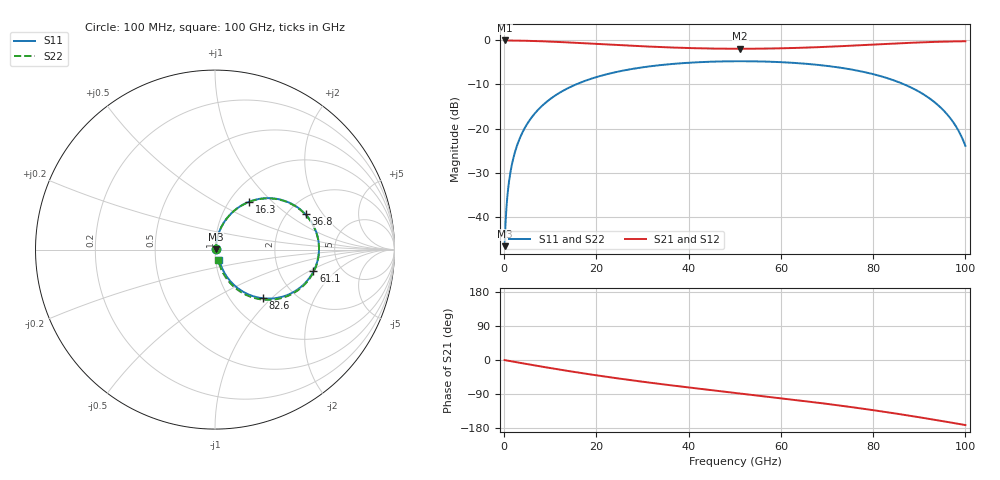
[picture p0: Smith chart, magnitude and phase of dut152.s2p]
! Touchstone file exported from HFSS 2026.1.0
!  File:  C:/ffzhzh/LocalFiles/Ansys_Project_Files/temp_train_RDL_152_1783499927_55944.aedt
!  Generated:  04:40:12 PM Jul  8, 2026
!  Design:  RDL
!  Project:  temp_train_RDL_152_1783499927_55944
! Variables:
!  h_bsmrdl = 2um
!  h_ox = 20um
!  h_rdl = 5um
!  h_sub = 80um
!  h_tmrdl = 3.28um
!  h_tsv = 80um
!  h_via = 3um
!  l_bsmrdl = 300um
!  l_sub = 983.96um
!  l_tmrdl = 583.96um
!  m_sub = 200um
!  pitch = 40.23um
!  r_tsv = 6um
!  s_tmrdl = 10um
!  w_bsmrdl = 18um
!  w_sub = 500um
!  w_tmrdl = 16.58um
!  x_tsv_center1 = 592.25um
!  x_tsv_center2 = 910.25um
!  x_tsv_center3 = 1510.79um
!  x_tsv_center4 = 1828.79um
!  x_tsv_center5 = 2429.33um
!  x_tsv_center6 = 2747.33um
# GHz S MA R 50.000000
! Terminal data exported
! Port[1] = TM_RDL1_1_T1
! Port[2] = TM_RDL1_1_T2
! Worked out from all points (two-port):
!   1000 points, 100 MHz to 100 GHz, reference 50 ohm
!   highest |S21| = -0.03 dB at 100 MHz (marker M1); lowest = -1.9 dB at 51.2 GHz (marker M2)
!   |S21| within 3 dB of the highest: start of sweep to end of sweep
!   lowest |S11| = -46.6 dB at 100 MHz (marker M3), VSWR 1.01, Z = 50.4 + j0.251 ohm
!   |S11| at or under -10 dB: start of sweep to 15.57 GHz; 86.77 GHz to end of sweep
!   |S22| runs from -46.6 to -4.7 dB; largest |S21 - S12| = 1.7e-14
!   S11 on the Smith chart (normalised r, x): 100 MHz: 1.01, +0.01; 16.3 GHz: 1.23, +0.74; 36.8 GHz: 2.49, +1.38; 61.1 GHz: 3.13, -1.11; 82.6 GHz: 1.40, -0.88; 100 GHz: 1.04, -0.12
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0.1  0.004663 32.3  0.9961 -0.2  0.9961 -0.2  0.004663 32.3
! Gamma 0 0 0 0
! Port Impedance 50 0 50 0
0.9  0.02165 75.4  0.9951 -2.0  0.9951 -2.0  0.02165 75.4
1.5  0.03512 78.6  0.9944 -3.3  0.9944 -3.3  0.03512 78.5
2.6  0.05993 79.2  0.9928 -5.7  0.9928 -5.7  0.05994 79.1
4.1  0.09344 77.3  0.9895 -8.9  0.9895 -8.9  0.09344 77.3
6.2  0.139 73.6  0.983 -13.4  0.983 -13.4  0.1391 73.5
8.9  0.1948 68.4  0.972 -19.0  0.972 -19.0  0.1948 68.3
16.3  0.328 54.4  0.9328 -33.6  0.9328 -33.6  0.3281 54.2
16.8  0.3359 53.5  0.9299 -34.5  0.9299 -34.5  0.336 53.3
24.6  0.4409 40.1  0.8844 -48.4  0.8844 -48.4  0.441 39.8
33.4  0.5205 26.3  0.8405 -62.6  0.8405 -62.6  0.5206 25.9
36.8  0.5415 21.3  0.8274 -67.7  0.8274 -67.7  0.5416 20.8
50.1  0.5794 2.7  0.8022 -86.8  0.8022 -86.8  0.5795 2.0
51.2  0.5796 1.2  0.802 -88.3  0.802 -88.3  0.5797 0.5
61.1  0.5618 -12.5  0.8141 -102.4  0.8141 -102.4  0.562 -13.3
66.7  0.5351 -20.5  0.8311 -110.7  0.8311 -110.7  0.5352 -21.5
82.6  0.3794 -45.6  0.9082 -137.0  0.9082 -137.0  0.3795 -47.0
83.4  0.368 -47.0  0.9125 -138.5  0.9125 -138.5  0.3681 -48.4
89.2  0.2752 -57.0  0.9422 -149.5  0.9422 -149.5  0.2753 -58.8
93.8  0.1898 -64.6  0.9612 -158.8  0.9612 -158.8  0.1897 -66.9
97.2  0.1215 -68.8  0.9708 -165.8  0.9708 -165.8  0.1213 -72.0
100  0.06378 -67.7  0.9754 -171.7  0.9754 -171.7  0.06304 -72.9
